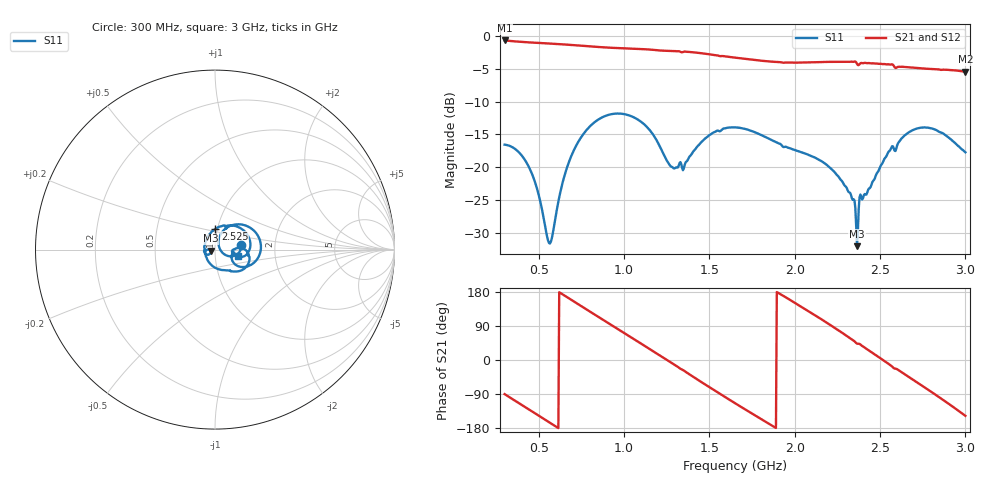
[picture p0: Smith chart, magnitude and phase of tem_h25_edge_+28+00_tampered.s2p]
! tem_h25_edge_+28+00_tampered
! simulated by sim/fixtures_fdtd.py (S12 = S21, S22 not computed)
# HZ S RI R 50
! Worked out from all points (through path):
!   541 points, 300 MHz to 3 GHz, reference 50 ohm
!   highest |S21| = -0.68 dB at 300 MHz (marker M1); lowest = -5.5 dB at 3 GHz (marker M2)
!   group delay of S21, straight-line fit = 791 ps
!   lowest |S11| = -32.0 dB at 2.365 GHz (marker M3), VSWR 1.05, Z = 47.6 - j0.607 ohm
!   |S11| at or under -10 dB: start of sweep to end of sweep
!   |S22| runs from - to - dB; largest |S21 - S12| = 0
!   S11 on the Smith chart (normalised r, x): 300 MHz: 1.34, +0.07; 2.525 GHz: 0.98, +0.23; 3 GHz: 1.28, -0.09
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3e8  0.1462 0.0272  -0.00132 -0.9249  -0.00132 -0.9249  0 0
4.5e8  0.0881 -0.0377  -0.6055 -0.6565  -0.6055 -0.6565  0 0
5.65e8  0.0243 0.01  -0.8477 -0.2207  -0.8477 -0.2207  0 0
6.55e8  0.0309 0.0845  -0.8452 0.1664  -0.8452 0.1664  0 0
7.5e8  0.101 0.1374  -0.6629 0.5215  -0.6629 0.5215  0 0
8.6e8  0.2055 0.1153  -0.2929 0.7692  -0.2929 0.7692  0 0
9.65e8  0.2554 0.0269  0.1203 0.7997  0.1203 0.7997  0 0
1.07e9  0.2266 -0.0635  0.4951 0.6273  0.4951 0.6273  0 0
1.2e9  0.1231 -0.0899  0.7535 0.1939  0.7535 0.1939  0 0
1.3e9  0.0955 -0.0262  0.745 -0.1842  0.745 -0.1842  0 0
1.45e9  0.1541 0.00754  0.3986 -0.6237  0.3986 -0.6237  0 0
1.65e9  0.1849 -0.0803  -0.2779 -0.6253  -0.2779 -0.6253  0 0
1.87e9  0.1039 -0.1219  -0.6337 -0.0666  -0.6337 -0.0666  0 0
2.1e9  0.042 -0.114  -0.3479 0.5252  -0.3479 0.5252  0 0
2.24e9  -0.0178 -0.0878  0.0774 0.6321  0.0774 0.6321  0 0
2.34e9  -0.0502 -0.0257  0.3852 0.5049  0.3852 0.5049  0 0
2.365e9  -0.0243 -0.00637  0.4472 0.4205  0.4472 0.4205  0 0
2.39e9  -0.0594 -0.00103  0.486 0.3904  0.486 0.3904  0 0
2.525e9  0.00131 0.1158  0.6109 -0.026  0.6109 -0.026  0 0
2.55e9  0.0269 0.1286  0.5991 -0.1084  0.5991 -0.1084  0 0
2.785e9  0.1975 0.0318  0.1022 -0.5528  0.1022 -0.5528  0 0
3e9  0.1256 -0.0341  -0.449 -0.2882  -0.449 -0.2882  0 0
